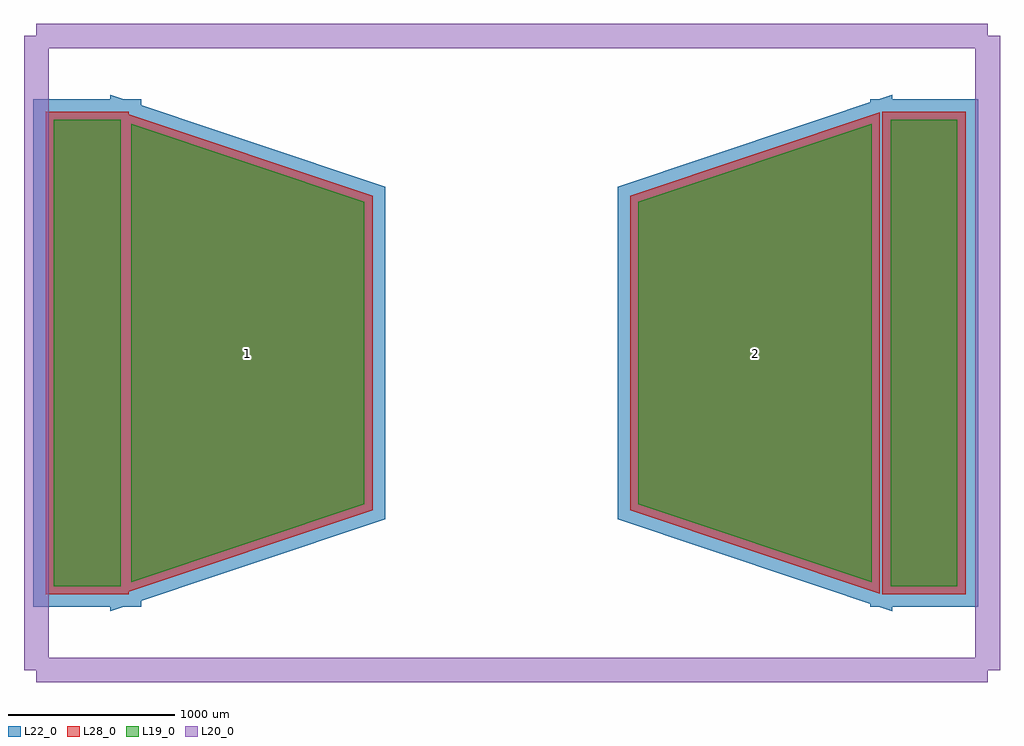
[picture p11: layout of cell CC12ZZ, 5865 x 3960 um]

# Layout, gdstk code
import gdstk
lib = gdstk.Library(unit=1e-6, precision=1e-09)
def R(c, l, rs):  # rectangles x0, y0, x1, y1
    for r in rs: c.add(gdstk.rectangle(r[:2], r[2:], *l))
def P(c, l, *ps):  # polygons
    for p in ps: c.add(gdstk.Polygon(p, *l))
L19_0 = (19, 0)
L20_0 = (20, 0)
L22_0 = (22, 0)
L28_0 = (28, 0)

cc12zz = lib.new_cell('CC12ZZ')
R(cc12zz, L19_0, [(-2689.39,-1400.34,-2289.01,1400.34), (2339.81,-1400.34,2740.19,1400.34)])
P(cc12zz, L19_0, [(823.43,-910.112),(823.43,910.112),(2224.57,1377.159),(2224.57,-1377.159)],
  [(-2224.57,-1377.159),(-2224.57,1377.159),(-823.43,910.112),(-823.43,-910.112)])
R(cc12zz, L22_0, [(-2814.39,-1525.34,-2164.01,1525.34), (2214.81,-1525.34,2865.19,1525.34)])
P(cc12zz, L22_0, [(698.43,-1000.207),(698.43,1000.207),(2349.57,1550.587),(2349.57,-1550.587)],
  [(-2349.57,-1550.587),(-2349.57,1550.587),(-698.43,1000.207),(-698.43,-1000.207)])
R(cc12zz, L28_0, [(-2739.39,-1450.34,-2239.01,1450.34), (2289.81,-1450.34,2790.19,1450.34)])
P(cc12zz, L28_0, [(773.43,-946.15),(773.43,946.15),(2274.57,1446.53),(2274.57,-1446.53)],
  [(-2274.57,-1446.53),(-2274.57,1446.53),(-773.43,946.15),(-773.43,-946.15)])
cc12zz.add(gdstk.FlexPath([(-2794,-1905),(-2794,1905)], 149.998, ends="flush", simple_path=True, layer=20, datatype=0))  # L20_0
cc12zz.add(gdstk.FlexPath([(2921,-1905),(-2794,-1905)], 149.998, ends="flush", simple_path=True, layer=20, datatype=0))  # L20_0
cc12zz.add(gdstk.FlexPath([(2921,1905),(2921,-1905)], 149.998, ends="flush", simple_path=True, layer=20, datatype=0))  # L20_0
cc12zz.add(gdstk.FlexPath([(-2794,1905),(2921,1905)], 149.998, ends="flush", simple_path=True, layer=20, datatype=0))  # L20_0
cc12zz.add(gdstk.Label('2', (1524,0), layer=28, texttype=0))
cc12zz.add(gdstk.Label('1', (-1524,0), layer=28, texttype=0))
cc12zz.add(gdstk.Label('type', (0,-3048), layer=9, texttype=0))
cc12zz.add(gdstk.Label('devicename', (-127,2794), layer=9, texttype=0))

lib.write_gds('CC12ZZ.gds')
